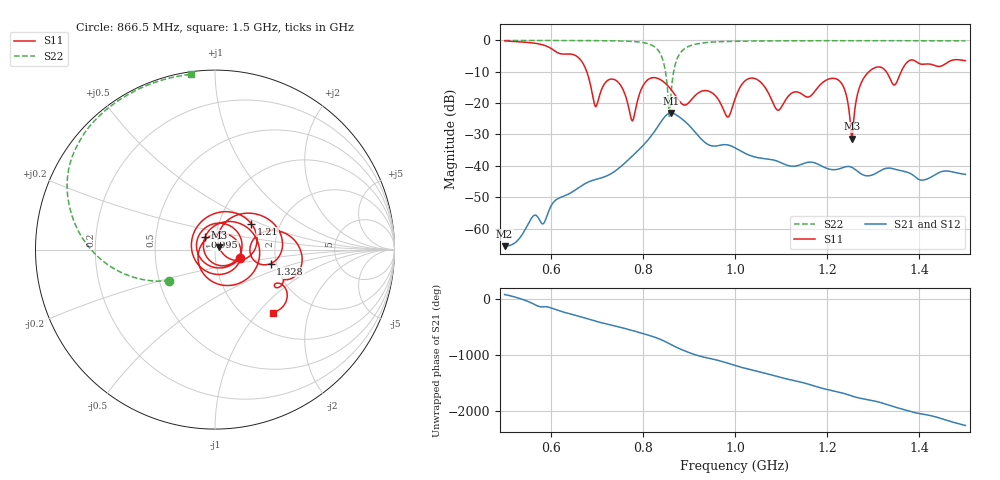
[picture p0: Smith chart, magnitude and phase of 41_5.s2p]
! TOUCHSTONE file generated by CST MICROWAVE STUDIO
! Date and time: Mon Nov 30 08:08:34 2020
! Project name: Scenario_1_Planar_Body_Tissue_Out_of_Line.cst
! Parameters = {L_HA=400; Ltissue=700; MT=2.54; Rad_Dielectric=30; Rad_Lower=7.3; Rad_Upper=30; Wtissue=700; a_HA=580; a_WG=246; b_HA=500; b_WG=121; c_HA=0; c_WG=187; d_feed=85; dx1=866; dy1=346; h_feed=15; h_lower=18; h_upper=40; hfat=3; hgap=25; hmuscle=50; hskin=1.5}
! Header version: 2018
! Port assignment regex: !\s*Touchstone port\s*([0-9]+)\s*=\s*(CST MWS port|CST DS port)\s*([0-9]+|Zmin|Zmax)\s*\(\"(.*)\"\)(\s*mode\s*([0-9]+))?.*
! Touchstone port assignment:
! Touchstone port 1 = CST MWS port 1 ("")
! Touchstone port 2 = CST MWS port 2 ("")
# GHz S DB R 50
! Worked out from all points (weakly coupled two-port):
!   1003 points, 500 MHz to 1.5 GHz, reference 50 ohm
!   highest |S21| = -23.15 dB at 861 MHz (marker M1); lowest = -65.6 dB at 500 MHz (marker M2)
!   lowest |S11| = -31.3 dB at 1.254 GHz (marker M3), VSWR 1.06, Z = 52.4 + j1.39 ohm
!   |S11| at or under -10 dB: 678.4 MHz to 1.29 GHz (612.1 MHz wide, 62.2 % of centre); 1.328 GHz to 1.36 GHz (32.03 MHz wide, 2.38 % of centre)
!   |S22| runs from -24.6 to 0.0 dB; largest |S21 - S12| = 6.2e-05
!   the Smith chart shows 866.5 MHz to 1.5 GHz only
!   S11 on the Smith chart (normalised r, x): 866.5 MHz: 1.32, -0.12; 995 MHz: 0.89, +0.13; 1.21 GHz: 1.43, +0.44; 1.328 GHz: 1.86, -0.32; 1.5 GHz: 1.33, -1.20
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0.5  -0.13 -122.1  -65.62 73.6  -65.61 73.6  -0.01 151.2
0.583  -1.41 -166.7  -58.51 -144.1  -58.36 -141.5  -0.02 145.4
0.667  -6.61 125.6  -46.37 32.8  -46.37 32.8  -0.04 138.4
0.697  -21.04 135.5  -44.37 -39.9  -44.37 -39.9  -0.06 135.2
0.738  -12.47 139.7  -41.84 -123.8  -41.84 -123.8  -0.13 129.6
0.777  -25.65 138.7  -36.90 153.3  -36.90 153.3  -0.33 121.2
0.834  -12.20 77.2  -27.14 8.4  -27.14 8.4  -3.29 83.7
0.861  -15.61 0.8  -23.15 -98.3  -23.15 -98.3  -17.54 -119.0
0.8665  -16.67 -17.9  -23.31 -121.5  -23.31 -121.5  -10.23 -145.6
0.9  -19.81 176.6  -27.03 120.3  -27.03 120.3  -1.86 168.0
0.995  -20.95 127.3  -33.88 -99.1  -33.88 -99.1  -0.29 140.9
1  -18.68 102.8  -34.25 -111.5  -34.26 -111.5  -0.27 140.3
1.035  -12.00 -11.7  -36.81 172.9  -36.81 172.9  -0.18 136.0
1.093  -22.27 138.0  -38.57 48.6  -38.57 48.6  -0.13 130.3
1.167  -17.31 164.2  -38.84 -103.9  -38.84 -103.9  -0.10 124.2
1.21  -12.09 35.6  -41.19 163.6  -41.19 163.6  -0.09 120.9
1.236  -14.98 -16.4  -40.47 112.3  -40.47 112.2  -0.09 118.9
1.254  -31.35 29.2  -40.51 64.6  -40.51 64.6  -0.09 117.6
1.28  -11.86 52.0  -42.99 11.9  -42.98 11.9  -0.08 115.6
1.328  -9.90 -14.1  -40.78 -81.8  -40.78 -81.9  -0.09 112.0
1.334  -11.41 -17.8  -40.71 -97.9  -40.71 -97.9  -0.09 111.5
1.5  -6.45 -47.5  -42.71 -99.3  -42.71 -99.3  -0.13 98.0
